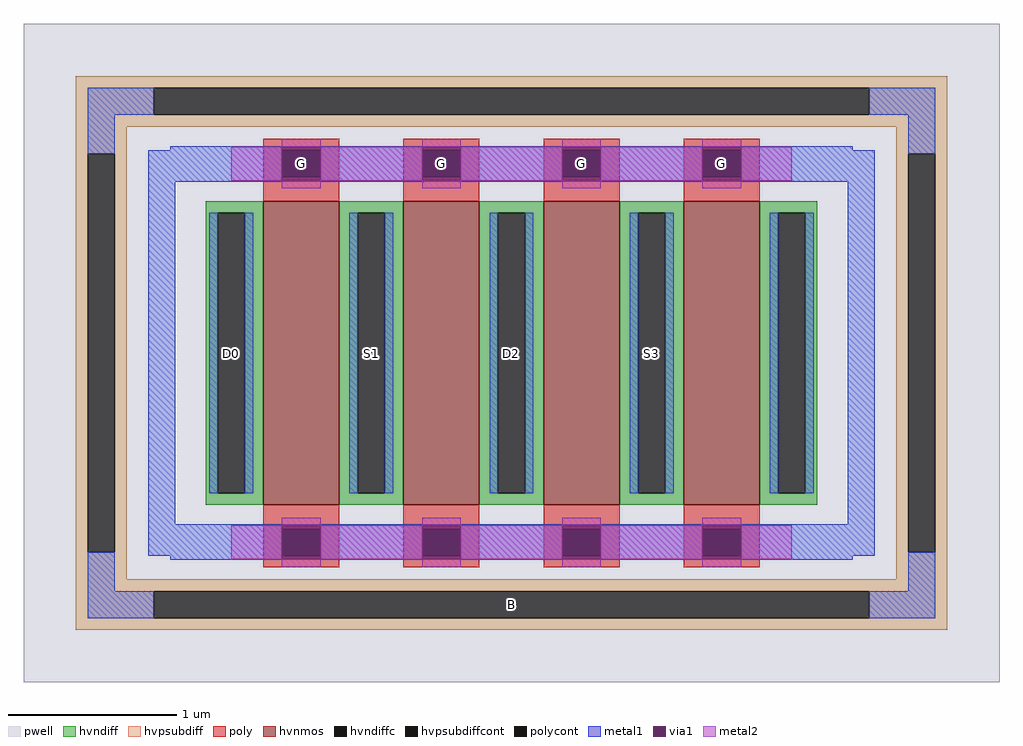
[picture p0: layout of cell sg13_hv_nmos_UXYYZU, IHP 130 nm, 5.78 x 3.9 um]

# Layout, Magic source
magic
tech ihp-sg13cmos5l
magscale 1 2
<< pwell >>
rect -578 -390 578 390
<< hvnmos >>
rect -294 -180 -204 180
rect -128 -180 -38 180
rect 38 -180 128 180
rect 204 -180 294 180
<< hvndiff >>
rect -362 166 -294 180
rect -362 -166 -348 166
rect -316 -166 -294 166
rect -362 -180 -294 -166
rect -204 166 -128 180
rect -204 -166 -182 166
rect -150 -166 -128 166
rect -204 -180 -128 -166
rect -38 166 38 180
rect -38 -166 -16 166
rect 16 -166 38 166
rect -38 -180 38 -166
rect 128 166 204 180
rect 128 -166 150 166
rect 182 -166 204 166
rect 128 -180 204 -166
rect 294 166 362 180
rect 294 -166 316 166
rect 348 -166 362 166
rect 294 -180 362 -166
<< hvndiffc >>
rect -348 -166 -316 166
rect -182 -166 -150 166
rect -16 -166 16 166
rect 150 -166 182 166
rect 316 -166 348 166
<< hvpsubdiff >>
rect -516 314 516 328
rect -516 282 -424 314
rect 424 282 516 314
rect -516 268 516 282
rect -516 236 -456 268
rect -516 -236 -502 236
rect -470 -236 -456 236
rect 456 236 516 268
rect -516 -268 -456 -236
rect 456 -236 470 236
rect 502 -236 516 236
rect 456 -268 516 -236
rect -516 -282 516 -268
rect -516 -314 -424 -282
rect 424 -314 516 -282
rect -516 -328 516 -314
<< hvpsubdiffcont >>
rect -424 282 424 314
rect -502 -236 -470 236
rect 470 -236 502 236
rect -424 -314 424 -282
<< poly >>
rect -294 240 -204 254
rect -294 208 -272 240
rect -226 208 -204 240
rect -294 180 -204 208
rect -128 240 -38 254
rect -128 208 -106 240
rect -60 208 -38 240
rect -128 180 -38 208
rect 38 240 128 254
rect 38 208 60 240
rect 106 208 128 240
rect 38 180 128 208
rect 204 240 294 254
rect 204 208 226 240
rect 272 208 294 240
rect 204 180 294 208
rect -294 -208 -204 -180
rect -294 -240 -272 -208
rect -226 -240 -204 -208
rect -294 -254 -204 -240
rect -128 -208 -38 -180
rect -128 -240 -106 -208
rect -60 -240 -38 -208
rect -128 -254 -38 -240
rect 38 -208 128 -180
rect 38 -240 60 -208
rect 106 -240 128 -208
rect 38 -254 128 -240
rect 204 -208 294 -180
rect 204 -240 226 -208
rect 272 -240 294 -208
rect 204 -254 294 -240
<< polycont >>
rect -272 208 -226 240
rect -106 208 -60 240
rect 60 208 106 240
rect 226 208 272 240
rect -272 -240 -226 -208
rect -106 -240 -60 -208
rect 60 -240 106 -208
rect 226 -240 272 -208
<< metal1 >>
rect -502 282 -424 314
rect 424 282 502 314
rect -502 236 -470 282
rect -404 244 404 245
rect -404 240 -272 244
rect -502 -282 -470 -236
rect -430 204 -272 240
rect -226 204 -106 244
rect -60 204 60 244
rect 106 204 226 244
rect 272 240 404 244
rect 272 204 430 240
rect -430 203 430 204
rect -430 -203 -398 203
rect -358 -166 -348 166
rect -316 -166 -306 166
rect -192 -166 -182 166
rect -150 -166 -140 166
rect -26 -166 -16 166
rect 16 -166 26 166
rect 140 -166 150 166
rect 182 -166 192 166
rect 306 -166 316 166
rect 348 -166 358 166
rect 398 -203 430 203
rect -430 -204 430 -203
rect -430 -240 -272 -204
rect -404 -244 -272 -240
rect -226 -244 -106 -204
rect -60 -244 60 -204
rect 106 -244 226 -204
rect 272 -240 430 -204
rect 470 236 502 282
rect 272 -244 404 -240
rect -404 -245 404 -244
rect 470 -282 502 -236
rect -502 -314 -424 -282
rect 424 -314 502 -282
<< via1 >>
rect -272 240 -226 244
rect -272 208 -226 240
rect -272 204 -226 208
rect -106 240 -60 244
rect -106 208 -60 240
rect -106 204 -60 208
rect 60 240 106 244
rect 60 208 106 240
rect 60 204 106 208
rect 226 240 272 244
rect 226 208 272 240
rect 226 204 272 208
rect -272 -208 -226 -204
rect -272 -240 -226 -208
rect -272 -244 -226 -240
rect -106 -208 -60 -204
rect -106 -240 -60 -208
rect -106 -244 -60 -240
rect 60 -208 106 -204
rect 60 -240 106 -208
rect 60 -244 106 -240
rect 226 -208 272 -204
rect 226 -240 272 -208
rect 226 -244 272 -240
<< metal2 >>
rect -272 244 -226 253
rect -106 244 -60 253
rect 60 244 106 253
rect 226 244 272 253
rect -332 204 -272 244
rect -226 204 -106 244
rect -60 204 60 244
rect 106 204 226 244
rect 272 204 332 244
rect -272 195 -226 204
rect -106 195 -60 204
rect 60 195 106 204
rect 226 195 272 204
rect -272 -204 -226 -195
rect -106 -204 -60 -195
rect 60 -204 106 -195
rect 226 -204 272 -195
rect -332 -244 -272 -204
rect -226 -244 -106 -204
rect -60 -244 60 -204
rect 106 -244 226 -204
rect 272 -244 332 -204
rect -272 -253 -226 -244
rect -106 -253 -60 -244
rect 60 -253 106 -244
rect 226 -253 272 -244
<< labels >>
rlabel hvpsubdiffcont 0 -298 0 -298 0 B
port 1 nsew
rlabel hvndiffc -332 0 -332 0 0 D0
port 2 nsew
rlabel polycont -249 224 -249 224 0 G
port 3 nsew
rlabel hvndiffc -166 0 -166 0 0 S1
port 4 nsew
rlabel polycont -83 224 -83 224 0 G
port 3 nsew
rlabel hvndiffc 0 0 0 0 0 D2
port 5 nsew
rlabel polycont 83 224 83 224 0 G
port 3 nsew
rlabel hvndiffc 166 0 166 0 0 S3
port 6 nsew
rlabel polycont 249 224 249 224 0 G
port 3 nsew
<< properties >>
string FIXED_BBOX -486 -298 486 298
string gencell sg13_hv_nmos
string library sg13cmos5l
string parameters w 1.8 l 0.45 m 1 ng 4 diffcov 100 polycov 100 guard 1 glc 1 grc 1 gtc 1 gbc 1 tbcov 100 rlcov 100 topc 1 botc 1 poverlap 0 doverlap 1 lmin 0.45 wmin 0.15 class mosfet compatible {sg13_lv_nmos sg13_hv_nmos} full_metal 1 conn_gates 1 gate_ring 1 doports 1 viasrc 0 viadrn 0 viagate 100 ccols 1 viagb 0 viagr 0 viagl 0 viagt 0
<< end >>
